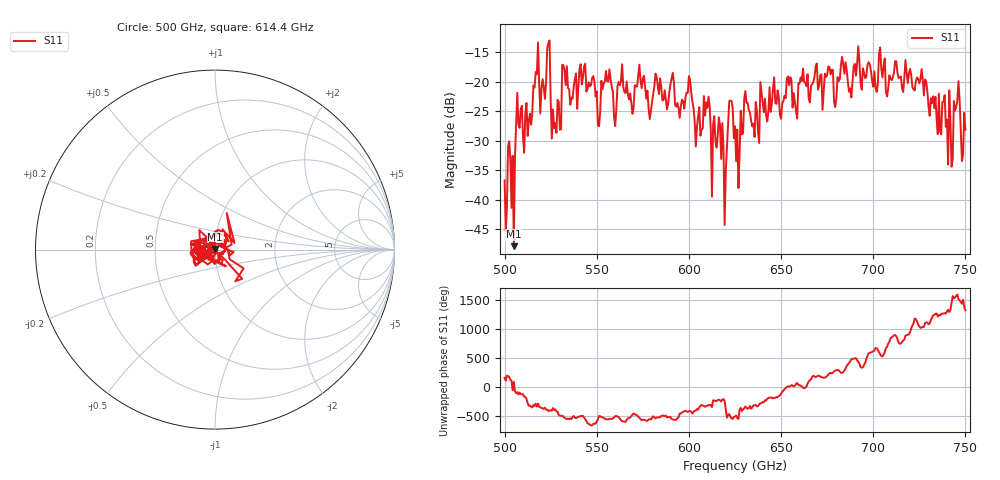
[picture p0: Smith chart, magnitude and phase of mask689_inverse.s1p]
!Created with skrf (http://scikit-rf.org).
# GHz S MA R 50.0
!freq magS11 angS11
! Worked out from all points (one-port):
!   401 points, 500 GHz to 750 GHz, reference 50 ohm
!   lowest |S11| = -47.8 dB at 505 GHz (marker M1), VSWR 1.01, Z = 50 + j0.405 ohm
!   |S11| at or under -10 dB: start of sweep to end of sweep
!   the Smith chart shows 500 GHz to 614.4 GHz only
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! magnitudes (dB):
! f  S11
! 500 GHz  -36.7
! 505 GHz  -47.8
! 507.5 GHz  -27.2
! 513.8 GHz  -25.4
! 516.9 GHz  -18.4
! 520.6 GHz  -19.6
! 523.8 GHz  -13.6
! 526.9 GHz  -27.9
! 531.2 GHz  -17.2
! 542.5 GHz  -19.3
! 550.6 GHz  -27.4
! 562.5 GHz  -20.6
! 593.8 GHz  -23.6
! 609.4 GHz  -23.5
! 618.8 GHz  -31.4
! 622.5 GHz  -23.2
! 625 GHz  -27.6
! 631.2 GHz  -23.6
! 656.2 GHz  -24.4
! 676.9 GHz  -18.8
! 680 GHz  -22.8
! 683.8 GHz  -17.2
! 687.5 GHz  -21.2
! 691.2 GHz  -17.0
! 718.8 GHz  -20.3
! 741.9 GHz  -26.7
! 745 GHz  -24.3
! 750 GHz  -28.2
